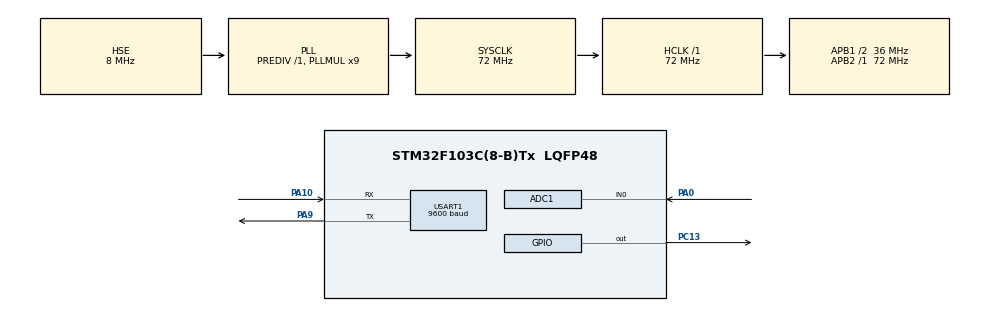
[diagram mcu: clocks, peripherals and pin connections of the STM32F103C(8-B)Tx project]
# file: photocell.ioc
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ADC1.Channel-0\#ChannelRegularConversion=ADC_CHANNEL_0
ADC1.NbrOfConversionFlag=1
ADC1.Rank-0\#ChannelRegularConversion=1
ADC1.SamplingTime-0\#ChannelRegularConversion=ADC_SAMPLETIME_239CYCLES_5
ADC1.master=1
Dma.ADC1.0.Direction=DMA_PERIPH_TO_MEMORY
Dma.ADC1.0.Instance=DMA1_Channel1
Dma.ADC1.0.MemDataAlignment=DMA_MDATAALIGN_HALFWORD
Dma.ADC1.0.MemInc=DMA_MINC_ENABLE
Dma.ADC1.0.Mode=DMA_CIRCULAR
Dma.ADC1.0.PeriphDataAlignment=DMA_PDATAALIGN_HALFWORD
Dma.ADC1.0.PeriphInc=DMA_PINC_DISABLE
Dma.ADC1.0.Priority=DMA_PRIORITY_LOW
Dma.Request0=ADC1
Mcu.Family=STM32F1
Mcu.Name=STM32F103C(8-B)Tx
Mcu.Package=LQFP48
NVIC.DMA1_Channel1_IRQn=true\:0\:0\:false\:false\:true\:false\:true
NVIC.PriorityGroup=NVIC_PRIORITYGROUP_4
NVIC.TIM4_IRQn=true\:0\:0\:false\:false\:true\:true\:true
PA0-WKUP.Signal=ADCx_IN0
PA10.Mode=Asynchronous
PA10.Signal=USART1_RX
PA13.Mode=Trace_Asynchronous_SW
PA13.Signal=SYS_JTMS-SWDIO
PA14.Mode=Trace_Asynchronous_SW
PA14.Signal=SYS_JTCK-SWCLK
PA9.Mode=Asynchronous
PA9.Signal=USART1_TX
PB3.Mode=Trace_Asynchronous_SW
PB3.Signal=SYS_JTDO-TRACESWO
PC13-TAMPER-RTC.PinState=GPIO_PIN_SET
PC13-TAMPER-RTC.Signal=GPIO_Output
PD0-OSC_IN.Mode=HSE-External-Oscillator
PD0-OSC_IN.Signal=RCC_OSC_IN
PD1-OSC_OUT.Mode=HSE-External-Oscillator
PD1-OSC_OUT.Signal=RCC_OSC_OUT
ProjectManager.HeapSize=0x200
ProjectManager.StackSize=0x400
ProjectManager.TargetToolchain=MDK-ARM V5.27
RCC.ADCPresc=RCC_ADCPCLK2_DIV6
RCC.AHBFreq_Value=72000000
RCC.APB1CLKDivider=RCC_HCLK_DIV2
RCC.APB1Freq_Value=36000000
RCC.APB1TimFreq_Value=72000000
RCC.APB2Freq_Value=72000000
RCC.APB2TimFreq_Value=72000000
RCC.HCLKFreq_Value=72000000
RCC.PLLMUL=RCC_PLL_MUL9
RCC.PLLSourceVirtual=RCC_PLLSOURCE_HSE
RCC.SYSCLKFreq_VALUE=72000000
RCC.SYSCLKSource=RCC_SYSCLKSOURCE_PLLCLK
RCC.USBFreq_Value=72000000
SH.ADCx_IN0.0=ADC1_IN0,IN0
TIM4.Period=1000-1
TIM4.Prescaler=7200-1
USART1.BaudRate=9600
USART1.VirtualMode=VM_ASYNC
VP_TIM4_VS_ClockSourceINT.Mode=Internal
board=custom

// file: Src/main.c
/* USER CODE BEGIN Header */
/**
  ******************************************************************************
  * @file           : main.c
  * @brief          : Main program body
  ******************************************************************************
  * @attention
  *
  * <h2><center>&copy; Copyright (c) 2020 STMicroelectronics.
  * All rights reserved.</center></h2>
  *
  * This software component is licensed by ST under BSD 3-Clause license,
  * the "License"; You may not use this file except in compliance with the
  * License. You may obtain a copy of the License at:
  *                        opensource.org/licenses/BSD-3-Clause
  *
  ******************************************************************************
  */
/* USER CODE END Header */

#include "main.h"

/* USER CODE BEGIN Includes */

#include <math.h>
#include "stdio.h"

/* USER CODE END Includes */

ADC_HandleTypeDef hadc1;
DMA_HandleTypeDef hdma_adc1;

TIM_HandleTypeDef htim4;

UART_HandleTypeDef huart1;

/* USER CODE BEGIN PV */

/* Photocell vars */
uint32_t Pht_R;
float Pht_Div;
float Pht_Temp;
uint32_t Pht_Lux;

/* Photocell constants */
#define PHT_UP_R 10000.0F
#define PHT_10LX_R 50000.0F
#define PHT_GAMMA 0.8F

/* ADC vars */
uint16_t ADC_Raw[1];

/* Sheduler vars */
uint8_t Sch_100ms = 255;

/* USER CODE END PV */

void SystemClock_Config(void);
static void MX_GPIO_Init(void);
static void MX_DMA_Init(void);
static void MX_ADC1_Init(void);
static void MX_TIM4_Init(void);
static void MX_USART1_UART_Init(void);

/* USER CODE BEGIN 0 */

/************** timer 4 irqhandler *************/
void HAL_TIM_PeriodElapsedCallback(TIM_HandleTypeDef *htim)
{
 if(htim->Instance == TIM4)
	{
		/* set every 100ms */
		Sch_100ms = 255;
	}
}

/* USER CODE END 0 */

int main(void)
{

  /* MCU Configuration--------------------------------------------------------*/

  /* Reset of all peripherals, Initializes the Flash interface and the Systick. */
  HAL_Init();

  /* Configure the system clock */
  SystemClock_Config();

  /* Initialize all configured peripherals */
  MX_GPIO_Init();
  MX_DMA_Init();
  MX_ADC1_Init();
  MX_TIM4_Init();
  MX_USART1_UART_Init();
  /* USER CODE BEGIN 2 */

	/* adc calibration */
	HAL_ADCEx_Calibration_Start(&hadc1);

	/* adc start */
	HAL_ADC_Start_DMA(&hadc1, (uint32_t*)ADC_Raw, 1);
	HAL_ADC_Start_IT(&hadc1);

	/* timer 4 start it (100ms) */
	HAL_TIM_Base_Start_IT(&htim4);

  /* USER CODE END 2 */

  /* Infinite loop */
  /* USER CODE BEGIN WHILE */
  while (1)
  {

if(Sch_100ms)
	{
		/* get adc value */
		HAL_ADC_Start_IT(&hadc1);
		/* calc photoresistor resistance */
		Pht_R = ((PHT_UP_R)/((4095.0)/(ADC_Raw[0])-1));
		/* internim calcs */
		Pht_Div = PHT_10LX_R/Pht_R;
		Pht_Temp = ((0.42*log(Pht_Div))/(PHT_GAMMA)) + 1;
		/* illuminance calc */
		Pht_Lux = pow(10, Pht_Temp);

//		/* send */
//		uint8_t Pht_Temp_TX[2];
//		Pht_Temp_TX[1] = (uint8_t)ADC_Raw[0];
//		Pht_Temp_TX[0] = (uint8_t)(ADC_Raw[0] >> 8);

//		HAL_UART_Transmit(&huart1, (uint8_t*)Pht_Temp_TX, 2, HAL_MAX_DELAY); /* transmit */

//		printf("%u", Pht_Lux);
//		printf(" lx\r\n");

		/* nulify */
		Sch_100ms = 0;
}
    /* USER CODE END WHILE */

  }
}

void SystemClock_Config(void)
{
  RCC_OscInitTypeDef RCC_OscInitStruct = {0};
  RCC_ClkInitTypeDef RCC_ClkInitStruct = {0};
  RCC_PeriphCLKInitTypeDef PeriphClkInit = {0};

  /** Initializes the CPU, AHB and APB busses clocks
  */
  RCC_OscInitStruct.OscillatorType = RCC_OSCILLATORTYPE_HSE;
  RCC_OscInitStruct.HSEState = RCC_HSE_ON;
  RCC_OscInitStruct.HSEPredivValue = RCC_HSE_PREDIV_DIV1;
  RCC_OscInitStruct.HSIState = RCC_HSI_ON;
  RCC_OscInitStruct.PLL.PLLState = RCC_PLL_ON;
  RCC_OscInitStruct.PLL.PLLSource = RCC_PLLSOURCE_HSE;
  RCC_OscInitStruct.PLL.PLLMUL = RCC_PLL_MUL9;
  if (HAL_RCC_OscConfig(&RCC_OscInitStruct) != HAL_OK)
  {
    Error_Handler();
  }
  /** Initializes the CPU, AHB and APB busses clocks
  */
  RCC_ClkInitStruct.ClockType = RCC_CLOCKTYPE_HCLK|RCC_CLOCKTYPE_SYSCLK
                              |RCC_CLOCKTYPE_PCLK1|RCC_CLOCKTYPE_PCLK2;
  RCC_ClkInitStruct.SYSCLKSource = RCC_SYSCLKSOURCE_PLLCLK;
  RCC_ClkInitStruct.AHBCLKDivider = RCC_SYSCLK_DIV1;
  RCC_ClkInitStruct.APB1CLKDivider = RCC_HCLK_DIV2;
  RCC_ClkInitStruct.APB2CLKDivider = RCC_HCLK_DIV1;

  if (HAL_RCC_ClockConfig(&RCC_ClkInitStruct, FLASH_LATENCY_2) != HAL_OK)
  {
    Error_Handler();
  }
  PeriphClkInit.PeriphClockSelection = RCC_PERIPHCLK_ADC;
  PeriphClkInit.AdcClockSelection = RCC_ADCPCLK2_DIV6;
  if (HAL_RCCEx_PeriphCLKConfig(&PeriphClkInit) != HAL_OK)
  {
    Error_Handler();
  }
}

static void MX_ADC1_Init(void)
{

  ADC_ChannelConfTypeDef sConfig = {0};

  /** Common config
  */
  hadc1.Instance = ADC1;
  hadc1.Init.ScanConvMode = ADC_SCAN_DISABLE;
  hadc1.Init.ContinuousConvMode = DISABLE;
  hadc1.Init.DiscontinuousConvMode = DISABLE;
  hadc1.Init.ExternalTrigConv = ADC_SOFTWARE_START;
  hadc1.Init.DataAlign = ADC_DATAALIGN_RIGHT;
  hadc1.Init.NbrOfConversion = 1;
  if (HAL_ADC_Init(&hadc1) != HAL_OK)
  {
    Error_Handler();
  }
  /** Configure Regular Channel
  */
  sConfig.Channel = ADC_CHANNEL_0;
  sConfig.Rank = ADC_REGULAR_RANK_1;
  sConfig.SamplingTime = ADC_SAMPLETIME_239CYCLES_5;
  if (HAL_ADC_ConfigChannel(&hadc1, &sConfig) != HAL_OK)
  {
    Error_Handler();
  }

}

static void MX_TIM4_Init(void)
{

  TIM_ClockConfigTypeDef sClockSourceConfig = {0};
  TIM_MasterConfigTypeDef sMasterConfig = {0};

  htim4.Instance = TIM4;
  htim4.Init.Prescaler = 7200-1;
  htim4.Init.CounterMode = TIM_COUNTERMODE_UP;
  htim4.Init.Period = 1000-1;
  htim4.Init.ClockDivision = TIM_CLOCKDIVISION_DIV1;
  htim4.Init.AutoReloadPreload = TIM_AUTORELOAD_PRELOAD_DISABLE;
  if (HAL_TIM_Base_Init(&htim4) != HAL_OK)
  {
    Error_Handler();
  }
  sClockSourceConfig.ClockSource = TIM_CLOCKSOURCE_INTERNAL;
  if (HAL_TIM_ConfigClockSource(&htim4, &sClockSourceConfig) != HAL_OK)
  {
    Error_Handler();
  }
  sMasterConfig.MasterOutputTrigger = TIM_TRGO_RESET;
  sMasterConfig.MasterSlaveMode = TIM_MASTERSLAVEMODE_DISABLE;
  if (HAL_TIMEx_MasterConfigSynchronization(&htim4, &sMasterConfig) != HAL_OK)
  {
    Error_Handler();
  }

}

static void MX_USART1_UART_Init(void)
{

  huart1.Instance = USART1;
  huart1.Init.BaudRate = 9600;
  huart1.Init.WordLength = UART_WORDLENGTH_8B;
  huart1.Init.StopBits = UART_STOPBITS_1;
  huart1.Init.Parity = UART_PARITY_NONE;
  huart1.Init.Mode = UART_MODE_TX_RX;
  huart1.Init.HwFlowCtl = UART_HWCONTROL_NONE;
  huart1.Init.OverSampling = UART_OVERSAMPLING_16;
  if (HAL_UART_Init(&huart1) != HAL_OK)
  {
    Error_Handler();
  }

}

static void MX_DMA_Init(void)
{

  /* DMA controller clock enable */
  __HAL_RCC_DMA1_CLK_ENABLE();

  /* DMA interrupt init */
  /* DMA1_Channel1_IRQn interrupt configuration */
  HAL_NVIC_SetPriority(DMA1_Channel1_IRQn, 0, 0);
  HAL_NVIC_EnableIRQ(DMA1_Channel1_IRQn);

}

static void MX_GPIO_Init(void)
{
  GPIO_InitTypeDef GPIO_InitStruct = {0};

  /* GPIO Ports Clock Enable */
  __HAL_RCC_GPIOC_CLK_ENABLE();
  __HAL_RCC_GPIOD_CLK_ENABLE();
  __HAL_RCC_GPIOA_CLK_ENABLE();
  __HAL_RCC_GPIOB_CLK_ENABLE();

  /*Configure GPIO pin Output Level */
  HAL_GPIO_WritePin(GPIOC, GPIO_PIN_13, GPIO_PIN_SET);

  /*Configure GPIO pin : PC13 */
  GPIO_InitStruct.Pin = GPIO_PIN_13;
  GPIO_InitStruct.Mode = GPIO_MODE_OUTPUT_PP;
  GPIO_InitStruct.Pull = GPIO_NOPULL;
  GPIO_InitStruct.Speed = GPIO_SPEED_FREQ_LOW;
  HAL_GPIO_Init(GPIOC, &GPIO_InitStruct);

}

void Error_Handler(void)
{
}

/************************ (C) COPYRIGHT STMicroelectronics *****END OF FILE****/
